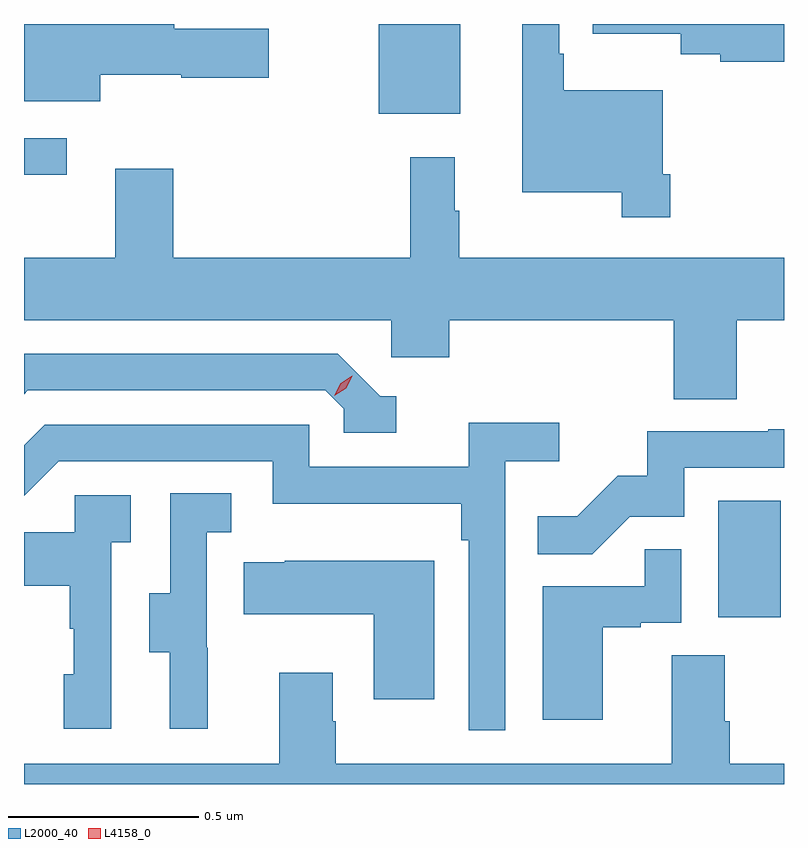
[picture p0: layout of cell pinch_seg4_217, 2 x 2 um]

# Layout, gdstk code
import gdstk
lib = gdstk.Library(unit=1e-6, precision=1e-09)
def R(c, l, rs):  # rectangles x0, y0, x1, y1
    for r in rs: c.add(gdstk.rectangle(r[:2], r[2:], *l))
def P(c, l, *ps):  # polygons
    for p in ps: c.add(gdstk.Polygon(p, *l))
L2000_40 = (2000, 40)
L4158_0 = (4158, 0)

pinch_seg4_217 = lib.new_cell('pinch_seg4_217')
R(pinch_seg4_217, L2000_40, [(1001.192,814.686,1001.356,814.993), (999.365,815.85,999.478,815.946), (1000.298,816.011,1000.513,816.247)])
P(pinch_seg4_217, L2000_40, [(1001.365,816.247),(1000.862,816.247),(1000.862,816.221),(1001.093,816.221),(1001.093,816.167),(1001.197,816.167),(1001.197,816.148),(1001.365,816.148)],
  [(1001.066,815.851),(1001.046,815.851),(1001.046,816.073),(1000.786,816.073),(1000.786,816.169),(1000.773,816.169),(1000.773,816.247),(1000.676,816.247),(1000.676,815.804),(1000.938,815.804),(1000.938,815.739),(1001.066,815.739)],
  [(999.565,816.113),(999.779,816.113),(999.779,816.106),(1000.009,816.106),(1000.009,816.235),(999.76,816.235),(999.76,816.247),(999.365,816.247),(999.365,816.044),(999.565,816.044)],
  [(1000.381,815.632),(999.758,815.632),(999.758,815.866),(999.605,815.866),(999.605,815.632),(999.365,815.632),(999.365,815.468),(1000.332,815.468),(1000.332,815.37),(1000.484,815.37),(1000.484,815.468),(1001.075,815.468),(1001.075,815.26),(1001.24,815.26),(1001.24,815.468),(1001.365,815.468),(1001.365,815.632),(1000.51,815.632),(1000.51,815.756),(1000.498,815.756),(1000.498,815.896),(1000.381,815.896)],
  [(1000.345,815.268),(1000.302,815.268),(1000.191,815.379),(999.365,815.379),(999.365,815.273),(999.375,815.283),(1000.158,815.283),(1000.206,815.235),(1000.206,815.172),(1000.345,815.172)],
  [(1000.632,815.096),(1000.774,815.096),(1000.774,815.198),(1000.535,815.198),(1000.535,815.082),(1000.116,815.082),(1000.116,815.193),(999.419,815.193),(999.365,815.139),(999.365,815.006),(999.456,815.097),(1000.02,815.097),(1000.02,814.985),(1000.516,814.985),(1000.516,814.889),(1000.536,814.889),(1000.536,814.389),(1000.632,814.389)],
  [(1000.959,814.95),(1001.103,814.95),(1001.103,815.079),(1001.365,815.079),(1001.365,815.18),(1001.323,815.18),(1001.323,815.175),(1001.005,815.175),(1001.005,815.058),(1000.928,815.058),(1000.821,814.951),(1000.717,814.951),(1000.717,814.852),(1000.861,814.852)],
  [(999.848,814.605),(999.846,814.605),(999.846,814.909),(999.91,814.909),(999.91,815.012),(999.75,815.012),(999.75,814.749),(999.695,814.749),(999.695,814.594),(999.749,814.594),(999.749,814.392),(999.848,814.392)],
  [(999.594,814.883),(999.646,814.883),(999.646,815.007),(999.498,815.007),(999.498,814.909),(999.365,814.909),(999.365,814.769),(999.486,814.769),(999.486,814.655),(999.496,814.655),(999.496,814.536),(999.47,814.536),(999.47,814.392),(999.594,814.392)],
  [(1000.888,814.659),(1000.988,814.659),(1000.988,814.671),(1001.094,814.671),(1001.094,814.865),(1000.999,814.865),(1000.999,814.767),(1000.73,814.767),(1000.73,814.416),(1000.888,814.416)],
  [(1000.444,814.834),(1000.051,814.834),(1000.051,814.831),(999.943,814.831),(999.943,814.694),(1000.286,814.694),(1000.286,814.47),(1000.444,814.47)],
  [(1001.365,814.3),(1001.222,814.3),(1001.222,814.412),(1001.209,814.412),(1001.209,814.586),(1001.069,814.586),(1001.069,814.3),(1000.185,814.3),(1000.185,814.412),(1000.177,814.412),(1000.177,814.54),(1000.037,814.54),(1000.037,814.3),(999.365,814.3),(999.365,814.247),(1001.365,814.247)])
P(pinch_seg4_217, L4158_0, [(1000.182,815.269),(1000.182,815.269),(1000.198,815.302),(1000.229,815.321),(1000.229,815.321),(1000.229,815.321),(1000.213,815.288),(1000.182,815.269)])

lib.write_gds('pinch_seg4_217.gds')
